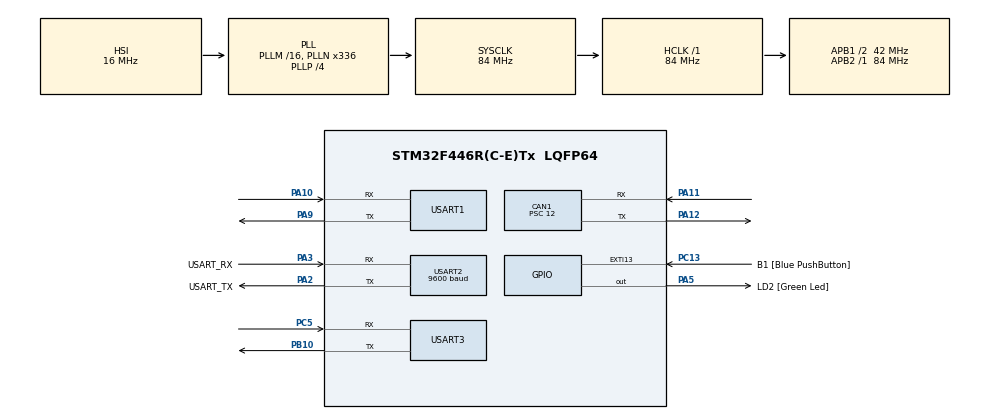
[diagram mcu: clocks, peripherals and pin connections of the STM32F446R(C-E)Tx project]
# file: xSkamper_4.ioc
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CAN1.BS1=CAN_BS1_11TQ
CAN1.BS2=CAN_BS2_2TQ
CAN1.CalculateBaudRate=250000
CAN1.CalculateTimeBit=4000
CAN1.CalculateTimeQuantum=285.7142857142857
CAN1.Prescaler=12
Dma.Request0=USART1_RX
Dma.Request1=USART3_RX
Dma.USART1_RX.0.Direction=DMA_PERIPH_TO_MEMORY
Dma.USART1_RX.0.FIFOMode=DMA_FIFOMODE_DISABLE
Dma.USART1_RX.0.Instance=DMA2_Stream2
Dma.USART1_RX.0.MemDataAlignment=DMA_MDATAALIGN_BYTE
Dma.USART1_RX.0.MemInc=DMA_MINC_ENABLE
Dma.USART1_RX.0.Mode=DMA_CIRCULAR
Dma.USART1_RX.0.PeriphDataAlignment=DMA_PDATAALIGN_BYTE
Dma.USART1_RX.0.PeriphInc=DMA_PINC_DISABLE
Dma.USART1_RX.0.Priority=DMA_PRIORITY_HIGH
Dma.USART3_RX.1.Direction=DMA_PERIPH_TO_MEMORY
Dma.USART3_RX.1.FIFOMode=DMA_FIFOMODE_DISABLE
Dma.USART3_RX.1.Instance=DMA1_Stream1
Dma.USART3_RX.1.MemDataAlignment=DMA_MDATAALIGN_BYTE
Dma.USART3_RX.1.MemInc=DMA_MINC_ENABLE
Dma.USART3_RX.1.Mode=DMA_CIRCULAR
Dma.USART3_RX.1.PeriphDataAlignment=DMA_PDATAALIGN_BYTE
Dma.USART3_RX.1.PeriphInc=DMA_PINC_DISABLE
Dma.USART3_RX.1.Priority=DMA_PRIORITY_HIGH
Mcu.Family=STM32F4
Mcu.Name=STM32F446R(C-E)Tx
Mcu.Package=LQFP64
NVIC.CAN1_RX0_IRQn=true\:0\:0\:false\:false\:true\:true\:true\:true
NVIC.CAN1_RX1_IRQn=true\:0\:0\:false\:false\:true\:true\:true\:true
NVIC.CAN1_TX_IRQn=true\:0\:0\:false\:false\:true\:true\:true\:true
NVIC.DMA1_Stream1_IRQn=true\:0\:0\:false\:false\:true\:false\:true\:true
NVIC.DMA2_Stream2_IRQn=true\:0\:0\:false\:false\:true\:false\:true\:true
NVIC.FLASH_IRQn=true\:0\:0\:false\:false\:true\:true\:true\:true
NVIC.PVD_IRQn=true\:0\:0\:false\:false\:true\:true\:true\:true
NVIC.PriorityGroup=NVIC_PRIORITYGROUP_0
NVIC.TIM1_BRK_TIM9_IRQn=true\:0\:0\:false\:false\:true\:true\:true\:true
NVIC.TIM1_CC_IRQn=true\:0\:0\:false\:false\:true\:true\:true\:true
NVIC.TIM1_TRG_COM_TIM11_IRQn=true\:0\:0\:false\:false\:true\:true\:true\:true
NVIC.TIM1_UP_TIM10_IRQn=true\:0\:0\:false\:false\:true\:true\:true\:true
NVIC.TIM2_IRQn=true\:0\:0\:false\:false\:true\:true\:true\:true
NVIC.USART1_IRQn=true\:0\:0\:false\:false\:true\:true\:true\:true
NVIC.USART2_IRQn=true\:0\:0\:false\:false\:true\:true\:true\:true
NVIC.USART3_IRQn=true\:0\:0\:false\:false\:true\:true\:true\:true
PA10.Mode=Asynchronous
PA10.Signal=USART1_RX
PA11.Mode=CAN_Activate
PA11.Signal=CAN1_RX
PA12.Mode=CAN_Activate
PA12.Signal=CAN1_TX
PA13.GPIO_Label=TMS
PA13.Mode=Serial_Wire
PA13.Signal=SYS_JTMS-SWDIO
PA14.GPIO_Label=TCK
PA14.Mode=Serial_Wire
PA14.Signal=SYS_JTCK-SWCLK
PA2.GPIO_Label=USART_TX
PA2.Mode=Asynchronous
PA2.Signal=USART2_TX
PA3.GPIO_Label=USART_RX
PA3.Mode=Asynchronous
PA3.Signal=USART2_RX
PA5.GPIO_Label=LD2 [Green Led]
PA5.Signal=GPIO_Output
PA9.Mode=Asynchronous
PA9.Signal=USART1_TX
PB10.Mode=Asynchronous
PB10.Signal=USART3_TX
PB3.GPIO_Label=SWO
PB3.Signal=SYS_JTDO-SWO
PC13.GPIO_Label=B1 [Blue PushButton]
PC13.GPIO_ModeDefaultEXTI=GPIO_MODE_IT_FALLING
PC13.Signal=GPXTI13
PC14-OSC32_IN.Mode=LSE-External-Oscillator
PC14-OSC32_IN.Signal=RCC_OSC32_IN
PC15-OSC32_OUT.Mode=LSE-External-Oscillator
PC15-OSC32_OUT.Signal=RCC_OSC32_OUT
PC5.Mode=Asynchronous
PC5.Signal=USART3_RX
PH0-OSC_IN.Mode=HSE-External-Oscillator
PH0-OSC_IN.Signal=RCC_OSC_IN
PH1-OSC_OUT.Mode=HSE-External-Oscillator
PH1-OSC_OUT.Signal=RCC_OSC_OUT
ProjectManager.HeapSize=0x200
ProjectManager.StackSize=0x400
ProjectManager.TargetToolchain=STM32CubeIDE
RCC.48MHZClocksFreq_Value=84000000
RCC.AHBFreq_Value=84000000
RCC.APB1CLKDivider=RCC_HCLK_DIV2
RCC.APB1Freq_Value=42000000
RCC.APB1TimFreq_Value=84000000
RCC.APB2Freq_Value=84000000
RCC.APB2TimFreq_Value=84000000
RCC.CortexFreq_Value=84000000
RCC.FLatency-AdvancedSettings=FLASH_LATENCY_2
RCC.HCLKFreq_Value=84000000
RCC.HSE_VALUE=8000000
RCC.HSI_VALUE=16000000
RCC.PLLN=336
RCC.PLLP=RCC_PLLP_DIV4
RCC.SYSCLKFreq_VALUE=84000000
RCC.SYSCLKSource=RCC_SYSCLKSOURCE_PLLCLK
RCC.USBFreq_Value=168000000
RCC.VCOOutputFreq_Value=336000000
TIM1.Period=199
TIM1.Prescaler=839
TIM2.Period=399
TIM2.Prescaler=839
USART1.VirtualMode=VM_ASYNC
USART2.BaudRate=9600
USART2.VirtualMode=VM_ASYNC
USART3.VirtualMode=VM_ASYNC
VP_TIM1_VS_ClockSourceINT.Mode=Internal
VP_TIM2_VS_ClockSourceINT.Mode=Internal
board=NUCLEO-F446RE

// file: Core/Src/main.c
/* USER CODE BEGIN Header */
/**
  ******************************************************************************
  * @file           : main.c
  * @brief          : Main program body
  ******************************************************************************
  * @attention
  *
  * Copyright (c) 2025 STMicroelectronics.
  * All rights reserved.
  *
  * This software is licensed under terms that can be found in the LICENSE file
  * in the root directory of this software component.
  * If no LICENSE file comes with this software, it is provided AS-IS.
  *
  ******************************************************************************
  */
/* USER CODE END Header */
#include "main.h"
#include "can.h"
#include "dma.h"
#include "tim.h"
#include "usart.h"
#include "gpio.h"

/* USER CODE BEGIN Includes */
#include "stdio.h"
#include "string.h"

#include "math.h"
#include "stdbool.h"

#include "stdlib.h"
#include "ibus.h"
/* USER CODE END Includes */

/* USER CODE BEGIN PD */
#define _USE_MATH_DEFINES
#define UART3_DMA_BUF_SIZE 128
uint8_t uart3_dma_buf[UART3_DMA_BUF_SIZE];

/* USER CODE END PD */

void SystemClock_Config(void);
/* USER CODE BEGIN PFP */
int _write(int file, char* p, int len){
	for(int i=0; i<len; i++){
		ITM_SendChar((*p++));
	}
	return len;
}
// EBIMU set function
#define DMA_BUF_SIZE 128
#define SBUF_SIZE 64

uint8_t uart1_dma_buf[DMA_BUF_SIZE];
volatile uint16_t dma_head = 0;

char sbuf[SBUF_SIZE];
int sbuf_cnt = 0;

static float roll = 0, pitch = 0, yaw = 0;

// === IDLE interrupt Handler ===
void HAL_UART_IDLE_Callback(UART_HandleTypeDef *huart)
{
    if (huart->Instance == USART1)

    {
        uint16_t dma_tail = DMA_BUF_SIZE - __HAL_DMA_GET_COUNTER(huart->hdmarx);

        while (dma_head != dma_tail) {
            char c = uart1_dma_buf[dma_head++];
            if (dma_head >= DMA_BUF_SIZE) dma_head = 0;

            if (c == '*') {
                sbuf_cnt = 0;
                memset(sbuf, 0, SBUF_SIZE);
            }

            if (sbuf_cnt < SBUF_SIZE - 1) {
                sbuf[sbuf_cnt++] = c;
            }

            if (c == '\n') {
                sbuf[sbuf_cnt] = '\0';
                float r, p, y;
                if (sscanf(sbuf, "*%f,%f,%f", &r, &p, &y) == 3) {
                    roll = r;
                    pitch = p;
                    yaw = y;
                }
                sbuf_cnt = 0;
            }
        }
    }
}

void ODrive_Send_CAN_Message(uint32_t id, uint8_t *data, uint8_t len) {
    CAN_TxHeaderTypeDef TxHeader;
    uint32_t TxMailbox;

    TxHeader.StdId = id;
    TxHeader.ExtId = 0;
    TxHeader.RTR = CAN_RTR_DATA;
    TxHeader.IDE = CAN_ID_STD;
    TxHeader.DLC = len;
    TxHeader.TransmitGlobalTime = DISABLE;

    for (int attempt = 0; attempt < 3; ++attempt) {
        if (HAL_CAN_GetTxMailboxesFreeLevel(&hcan1) > 0) {
            if (HAL_CAN_AddTxMessage(&hcan1, &TxHeader, data, &TxMailbox) == HAL_OK) {
                return; // Success
            }
        }
        HAL_Delay(1); // Retry after short delay
    }

    printf("CAN TX failed: id=0x%X\r\n", id);
}

// ODrive velocity set ----------------------------------------------
void ODrive_Set_Input_Velocity(uint8_t node_id, float velocity) {
    uint32_t cmd_id =  ((uint32_t)node_id << 5) | (0x0d);
    uint8_t data[8];
    float torque_ff = 0.0f;
    memcpy(data, &velocity, 4);      // velocity
    memcpy(data + 4, &torque_ff, 4); // torque feed-forward
    ODrive_Send_CAN_Message(cmd_id, data, 8);
}//velocity Unit = rev/s

// ODrive Axis set ----------------------------------------------
static uint32_t axis_state_1 = 0;
static uint32_t axis_state_2 = 0;
void ODrive_Set_Axis_State(uint8_t node_id, uint32_t state) {
    uint32_t cmd_id = ((uint32_t)node_id << 5) | (0x07);
    uint8_t data[4];
    memcpy(data, &state, 4);
    ODrive_Send_CAN_Message(cmd_id, data, 4);
}
// ODrive reboot ----------------------------------------------
void ODrive_reboot(uint8_t node_id){
	uint32_t cmd_id =  ((uint32_t)node_id << 5) | (0x16);
	uint8_t data[8] = {0};
	ODrive_Send_CAN_Message(cmd_id, data, 8);
}
// ODrive Axis state ----------------------------------------------
void ODrive_Get_Axis_State(uint8_t node_id) {
    uint32_t cmd_id = ((uint32_t)node_id << 5) | (0x01);
    uint8_t data[0];
    ODrive_Send_CAN_Message(cmd_id, data, 0);
}

// ODrive Torque set ----------------------------------------------
void ODrive_Set_Input_Torque(uint8_t node_id, float Torque) {
	uint32_t cmd_id =  ((uint32_t)node_id << 5) | (0x0e);
	uint8_t data[4];
    memcpy(data, &Torque, 4); // torque
    ODrive_Send_CAN_Message(cmd_id, data, 4);
}

//ODrive encoder data request ----------------------------------------------
void ODrive_Get_Encoder_Estimates(uint8_t node_id) {
	uint32_t cmd_id =  ((uint32_t)node_id << 5) | (0x09);
	uint8_t data[0];
	ODrive_Send_CAN_Message(cmd_id, data, 0);
}
static float en_pos_w = 0.0f,  en_vel_w = 0.0f; // Initial wheel motor pos, vel
static float en_pos_r = 0.0f, en_vel_r = 0.0f; // Initial reaction wheel motor pos, vel

//ODrive encoder data receive ----------------------------------------------
void HAL_CAN_RxFifo0MsgPendingCallback(CAN_HandleTypeDef *hcan) {
    CAN_RxHeaderTypeDef rxHeader;
    uint8_t rxData[8];

    if (HAL_CAN_GetRxMessage(hcan, CAN_RX_FIFO0, &rxHeader, rxData) == HAL_OK) {
        // CAN ID = 0x29,  wheel motor encoder position and velocity
        if (rxHeader.StdId == 0x29) {
            memcpy(&en_pos_w, &rxData[0], 4);
            memcpy(&en_vel_w, &rxData[4], 4);
        }

        // CAN ID = 0X49, reaction wheel motor encoder position and velocity
        else if (rxHeader.StdId == 0x49) {  // 0x009 + (2 << 5)
            memcpy(&en_pos_r, &rxData[0], 4);
            memcpy(&en_vel_r, &rxData[4], 4);
        }
        else if (rxHeader.StdId == 0x01 + (1 << 5)) { // CAN 1 axis check
            memcpy(&axis_state_1, rxData, 4);
        }
        else if (rxHeader.StdId == 0x01 + (2 << 5)) { // CAN 1 axis check
			memcpy(&axis_state_2, rxData, 4);
		}

    }
}

// Initial value set ----------------------------------------------
float targetAngle_w = - 1.0f;
float O_targetAngle_w = - 1.0f;
float iE_w;
float prevE_w;
float prevY_w;
static float tq_w;

// Wheel motor Constants ----------------------------------------------
//static float Kp_w = 0.4, Ki_w = 0.05, Kd_w = 0.015; //PID gain
//static float Kp_w = 0.137, Ki_w = 0.0015, Kd_w = 0.000082; //PID gain
//static float Kp_w = 0.2, Ki_w = 1.5, Kd_w = 0.0019; //PID gain
float Kp_w = 0.3, Ki_w = 10.0, Kd_w = 0.0016; //PID gain
//static float Kp_w = 0.25, Ki_w = 10.0, Kd_w = 0; //PID gain
//static float AF1_w = 0.00002, AF2_w = 0.00003; // Angle Fixrate
static float AF1_w = 0.00004, AF2_w = 0.001; // Angle Fixrate
float O_AF1_w = 0.00004, O_AF2_w = 0.001;
static float dt_w = 0.0002; //Time period
static float AD_w = 1.0; //Adjusting constants
float PIDoutput_w;
float tq_lim_w = 3;
float iE_lim_w = 5;
static float error_w_f;
float dY_w;
float dY_w_f;
float alpha_w = 0.999; //LPF constant
float beta_w = 0.9;

int e,ec;

// Initial value set ----------------------------------------------
float targetAngle_r = 0.0f;
float O_targetAngle_r = 0.0f;
float iE_r;
float prevE_r;
float prevY_r;
static float tq_r;

// reaction Wheel motor Constants ----------------------------------------------
float Kp_r = 0.18, Ki_r = 0.2, Kd_r = 0.0005; //PID gain
//static float AF1_r = 0.0001, AF2_r = 0.000001; // Angle Fixrate
//static float AF1_r = 0.000035, AF2_r = 0.0005; // Angle Fixrate
//static float AF1_r = 0.0001, AF2_r = 0.000012; // Angle Fixrate
static float AF1_r = 0.00025, AF2_r = 0.000015; // Angle Fixrate
float O_AF1_r = 0.00025, O_AF2_r = 0.000015;
static float dt_r = 0.0004; //Time period
static float AD_r = 1.0; //Adjusting constants
float PIDoutput_r;
float tq_lim_r = 5.0;
float iE_lim_r = 7.0;

static float error_r_f;
float dY_r;
float dY_r_f;
float alpha_r = 0.99; //LPF constant
float beta_r = 0.9;

/* ---------------------------------------------- BALANCING ---------------------------------------------- */
bool balance_enabled_w = true;// Fail check bool
bool balance_enabled_r = true;// Fail check bool

void HAL_TIM_PeriodElapsedCallback(TIM_HandleTypeDef *htim) {
	// Wheel motor Balancing ----------------------------------------------
    if (htim->Instance == TIM1) {

    	// Fail mode ----------------------------------------------
        if (fabs(pitch) > 20 || fabs(roll) > 15) {
            if (balance_enabled_w) {
            	ODrive_Set_Input_Torque(1, 0.0f);// Wheel motor stop
			 	tq_w = 0;
			 	iE_w = 0;
			 	prevE_w = 0;
                balance_enabled_w = false;
            }
            return;
        }

        if (!balance_enabled_w && fabs(pitch) < 15 && fabs(roll) < 10) {
            balance_enabled_w = true;// if pitch and roll return 15 deg, PID revive
        }

        if (!balance_enabled_w) return;

    	//PID Output ----------------------------------------------
        	float error_w = targetAngle_w - pitch;
        	error_w_f = alpha_w * error_w + (1.0 - alpha_w) * error_w_f;
        	iE_w += error_w_f * dt_w;
        	if (iE_w > iE_lim_w) {
        		iE_w = iE_lim_w;
			}
			else if (iE_w < - iE_lim_w) {
				iE_w = - iE_lim_w;
			}
        	float dE_w = (error_w_f - prevE_w) / dt_w;
        	prevE_w = error_w_f;

        	PIDoutput_w = Kp_w * error_w_f + Ki_w * iE_w + Kd_w * dE_w;
        	//Kp_w = Kp_w_old; Kd_w = Kd_w_old;

        	//I-PD Output ----------------------------------------------
        /*
        	float error_w = targetAngle_w - pitch;
        	error_w_f = alpha_w * error_w + (1.0 - alpha_w) * error_w_f;
        	iE_w += error_w_f * dt_w;  // Integral term on error
        	dY_w = (pitch - prevY_w) / dt_w;  // Derivative on output
        	dY_w_f = beta_w * dY_w + (1.0 - beta_w) * dY_w_f;
        	PIDoutput_w = Ki_w * iE_w - Kp_w * pitch - Kd_w * dY_w_f;
        	prevY_w = pitch;
        */

        	//Motor torque ----------------------------------------------
        	tq_w = AD_w * PIDoutput_w;

        	// Clamp torque
        	if (tq_w > tq_lim_w) {
        		tq_w = tq_lim_w;
        		iE_w -= error_w_f * dt_w;  // anti-windup
        	}
        	else if (tq_w < -tq_lim_w) {
        		tq_w = -tq_lim_w;
        		iE_w -= error_w_f * dt_w;  // anti-windup
        	}
        	ODrive_Set_Input_Torque(1, (float)tq_w);
        	//encoder value
        	ODrive_Get_Encoder_Estimates(1);
        	//Target Angle ----------------------------------------------
        	if (targetAngle_w > pitch) {
        		targetAngle_w += 1.0 * AF1_w;
        	}
        	if (targetAngle_w <= pitch) {
        		targetAngle_w -= 1.0 * AF1_w;
        		}
        	targetAngle_w += AF2_w * en_vel_w;

          }

    // Reaction Wheel motor Balancing ----------------------------------------------
    if (htim->Instance == TIM2) {
    	// Fail mode ----------------------------------------------
    	if (fabs(pitch) > 20 || fabs(roll) > 15) {
			if (balance_enabled_r) {
				ODrive_Set_Input_Torque(2, 0.0f);// Reaction wheel motor stop
				tq_r = 0;
				iE_r = 0;
				prevE_r = 0;
				balance_enabled_r = false;
			}
			return;
		}

		if (!balance_enabled_w && fabs(pitch) < 15 && fabs(roll) < 10) {
			balance_enabled_r = true;// if pitch and roll return 15 deg, PID revive
		}
		if (!balance_enabled_r) return;
		//PID Output ----------------------------------------------
		float error_r = targetAngle_r - roll;
		error_r_f = alpha_r * error_r + (1.0 - alpha_r) * error_r_f;
		iE_r += error_r_f * dt_r;
		if (iE_r > iE_lim_r) {
    		iE_r = iE_lim_r;
		}
		else if (iE_r < - iE_lim_r) {
			iE_r = - iE_lim_r;
		}
		float dE_r = (error_r_f - prevE_r) / dt_r;
		prevE_r = error_r_f;

		PIDoutput_r = Kp_r * error_r_f + Ki_r * iE_r + Kd_r * dE_r;

		//Motor torque ----------------------------------------------
		tq_r = - AD_r * PIDoutput_r;

		// Clamp torque
		if (tq_r > tq_lim_r) {
			tq_r = tq_lim_r;
		}
		else if (tq_r < -tq_lim_r) {
			tq_r = -tq_lim_r;
		}
		ODrive_Set_Input_Torque(2, (float)tq_r);
		//encoder value
		ODrive_Get_Encoder_Estimates(2);
		//Target Angle ----------------------------------------------
		if (targetAngle_r > roll) {
			targetAngle_r += 1.0 * AF1_r;
		}
		if (targetAngle_r <= roll) {
			targetAngle_r -= 1.0 * AF1_r;
			}
		targetAngle_r -= AF2_r * en_vel_r;
	  }

    }

// for debug ----------------------------------------------
int __io_putchar(int ch) {
    HAL_UART_Transmit(&huart2, (uint8_t *)&ch, 1, HAL_MAX_DELAY);
    return ch;
}

void HAL_UART_RxCpltCallback(UART_HandleTypeDef *huart);
/* USER CODE END PFP */

/* USER CODE BEGIN 0 */

typedef enum {
    IDLE,
    FORWARD,
    BACKWARD,
    LEFT,
    RIGHT,
	EMPTY
} ControlState;

ControlState state = EMPTY;

void update_state_from_ibus() {
    if (ibus_data[1] > 1700)
        state = FORWARD;
    else if (ibus_data[1] < 1300)
        state = BACKWARD;
    else if (ibus_data[0] > 1700)
        state = RIGHT;
    else if (ibus_data[0] < 1300)
        state = LEFT;
    else if (ibus_data[2] > 1700)
        state = IDLE;
    else
    	state = EMPTY;
}

void execute_state() {
    switch (state) {
        case FORWARD:
        	AF1_w = 0;
			AF2_w = 0;
        	while (en_vel_w <= 1.0f){
				targetAngle_w -= 0.1f;
				HAL_Delay(100);
        	}
        	while (fabs(O_targetAngle_w - targetAngle_w) >= 0.7)
			{
				if (targetAngle_w <= O_targetAngle_w) {
					targetAngle_w += 0.1f;
				}
				else if (targetAngle_w > O_targetAngle_w) {
					targetAngle_w -= 0.1f;
				}
				HAL_Delay(100);
			}
        	AF1_w = O_AF1_w;
			AF2_w = O_AF2_w;

			targetAngle_w = O_targetAngle_w;
            break;
        case BACKWARD:
        	AF1_w = 0;
			AF2_w = 0;
        	while (en_vel_w >= -0.6f){
				targetAngle_w += 0.1f;
				HAL_Delay(100);
			}
        	while (fabs(O_targetAngle_w - targetAngle_w) >= 0.7)
			{
				if (targetAngle_w <= O_targetAngle_w) {
					targetAngle_w += 0.1f;
				}
				else if (targetAngle_w > O_targetAngle_w) {
					targetAngle_w -= 0.1f;
				}
				HAL_Delay(100);
			}
        	AF1_w = O_AF1_w;
			AF2_w = O_AF2_w;
			targetAngle_w = O_targetAngle_w;
            break;
        case RIGHT:
			AF1_w = 0;
			AF2_w = 0;
			targetAngle_w = O_targetAngle_w - 1.5f;
			int i = 0;
        	while (i <= 6)//(roll <= 5.0f)
        	{
        		i+=1;
				targetAngle_r += 0.2f;
				HAL_Delay(10);
			}
        	i = 0;
        	HAL_Delay(2000);
			while (fabs(O_targetAngle_w - targetAngle_w) >= 0.7)
			{
				if (targetAngle_w <= O_targetAngle_w) {
					targetAngle_w += 0.2f;
				}
				else if (targetAngle_w > O_targetAngle_w) {
					targetAngle_w -= 0.2f;
				}
				HAL_Delay(100);
			}
			targetAngle_w = O_targetAngle_w;
			while (fabs(targetAngle_r) >= 0.7f)
			{
				if (targetAngle_r <= O_targetAngle_r) {
					targetAngle_r += 0.05f;
				}
				else if (targetAngle_r > O_targetAngle_r) {
					targetAngle_r -= 0.05f;
				}
				HAL_Delay(100);
			}
			AF1_r = O_AF1_r;
			AF2_r = O_AF2_r;
			AF1_w = O_AF1_w;
			AF2_w = O_AF2_w;
			targetAngle_r = O_targetAngle_r;
            break;
        case LEFT:
        	AF1_w = 0;
			AF2_w = 0;
			targetAngle_w = O_targetAngle_w - 1.5f;
			i = 0;
			while (i <= 6)//(roll <= 5.0f)
			{
				i+=1;
				targetAngle_r -= 0.2f;
				HAL_Delay(10);
			}
			i = 0;
			HAL_Delay(2000);
			while (fabs(O_targetAngle_w - targetAngle_w) >= 0.7)
			{
				if (targetAngle_w <= O_targetAngle_w) {
					targetAngle_w += 0.2f;
				}
				else if (targetAngle_w > O_targetAngle_w) {
					targetAngle_w -= 0.2f;
				}
				HAL_Delay(100);
			}
        	targetAngle_w = O_targetAngle_w;
        	while (fabs(targetAngle_r) >= 0.7f)
        	{
				if (targetAngle_r <= O_targetAngle_r) {
					targetAngle_r += 0.05f;
				}
				else if (targetAngle_r > O_targetAngle_r) {
					targetAngle_r -= 0.05f;
				}
				HAL_Delay(100);
        	}
        	AF1_r = O_AF1_r;
			AF2_r = O_AF2_r;
			AF1_w = O_AF1_w;
			AF2_w = O_AF2_w;
			targetAngle_r = O_targetAngle_r;
            break;
        case IDLE:
        	AF1_w = 0;
			AF2_w = 0;
        	while (fabs(en_vel_w) >= 0.6f){
        		if (en_vel_w <= 0.0f){
					targetAngle_w -= 0.2f;
        		}
        		else if (en_vel_w > 0.0f){
					targetAngle_w += 0.2f;
				}
        		HAL_Delay(100);
			}
        	AF1_r = O_AF1_r;
			AF2_r = O_AF2_r;
			AF1_w = O_AF1_w;
			AF2_w = O_AF2_w;
            break;
        case EMPTY:
        	break;
    }
}

/* USER CODE END 0 */

int main(void)
{

  /* MCU Configuration--------------------------------------------------------*/

  /* Reset of all peripherals, Initializes the Flash interface and the Systick. */
   HAL_Init();

  /* Configure the system clock */
  SystemClock_Config();

  /* Initialize all configured peripherals */
  MX_GPIO_Init();
  MX_DMA_Init();
  MX_USART2_UART_Init();
  MX_USART1_UART_Init();
  MX_CAN1_Init();
  MX_USART3_UART_Init();
  MX_TIM1_Init();
  MX_TIM2_Init();
  /* USER CODE BEGIN 2 */
  HAL_Delay(100);
  ibus_init();

  // CAN start ----------------------------------------------
  HAL_CAN_Start(&hcan1);
  HAL_CAN_ActivateNotification(&hcan1, CAN_IT_RX_FIFO0_MSG_PENDING);

  ODrive_reboot(1);
  HAL_Delay(100);
  ODrive_reboot(2);
  HAL_Delay(100);
  ODrive_Set_Axis_State(1, 3);// FULL_CALIBRATION_SEQUENCE
  HAL_Delay(3000);

  ODrive_Set_Axis_State(2, 3);
  HAL_Delay(3000);
  ODrive_Set_Axis_State(2, 1);
  HAL_Delay(100);
  ODrive_Set_Axis_State(2, 6);
  HAL_Delay(100);

  HAL_Delay(3000);

  ODrive_Get_Axis_State(2);
  HAL_Delay(100);

  if (axis_state_2 == 1) {
      ODrive_Set_Axis_State(2, 8);
      HAL_Delay(200);
      ODrive_Get_Axis_State(2);
      printf("Axis 2 entered closed loop? State: %lu\r\n", axis_state_2);
  } else {
      printf("Axis 2 did not enter IDLE, cannot go to Closed Loop.\r\n");
  }

  /*
  	  uint32_t t_start = HAL_GetTick();
  	  while (axis_state_1 != 1 && HAL_GetTick() - t_start < 30000) {
  		  ODrive_Get_Axis_State(1); // Check state
  		  HAL_Delay(500);
  	  }

  	  if (axis_state_1 != 1) {
  		  printf("Calibration failed or timed out: axis_state_1 = %lu\r\n", axis_state_1);
  		  vTaskSuspend(NULL);
  	  }
  */
  	  // Closed loop
  ODrive_Set_Axis_State(2, 8);
  HAL_Delay(150);

  ODrive_Set_Axis_State(1, 8);
  HAL_Delay(150);

  HAL_UART_Receive_DMA(&huart1, uart1_dma_buf, DMA_BUF_SIZE);
  __HAL_UART_ENABLE_IT(&huart1, UART_IT_IDLE);

  HAL_Delay(150);
  HAL_TIM_Base_Start_IT(&htim2);
  HAL_Delay(150);

  HAL_TIM_Base_Start_IT(&htim1);

  /* USER CODE END 2 */

  /* Infinite loop */
  /* USER CODE BEGIN WHILE */
  	char msg[512];
  while (1)
  {
 //sensor data read
/*
		snprintf(msg, sizeof(msg),
			//"\n\n-----------------------------------------\r\n"
			"Wheel Target Angle: %.2f   Wheel Torque: %.2f  Encoder Wheel Velocity: %.2f\r\n"
			"RW Target Angle: %.2f   RW Torque: %.2f  Encoder RW Velocity: %.2f\r\n"
			"PIDoutput_w: %.2f PIDoutput_r: %.2f\r\n"
			"Roll: %.2f\tPitch: %.2f\r\n"
			//"-----------------------------------------\r\n\n",
			,
			targetAngle_w, tq_w, en_vel_w,
			targetAngle_r, tq_r, en_vel_r,
			PIDoutput_w, PIDoutput_r, roll, pitch);

	  	  	//printf("Roll: %.2fPitch: %.2f\r\nWheel Target Angle: %.2fRW Target Angle: %.2f\r\n",roll, pitch,targetAngle_w,targetAngle_r);
	  	  snprintf(msg, sizeof(msg),
	  			"Roll: %f, Pitch: %f, TargetAngle_w: %f, TargetAngle_r: %f\n",
				roll, pitch,targetAngle_w,targetAngle_r);

			HAL_UART_Transmit_IT(&huart2, (uint8_t*)msg, strlen(msg));
	  	  	//HAL_UART_Transmit(&huart2, (uint8_t*)msg, strlen(msg), HAL_MAX_DELAY);
			HAL_Delay(100);
*/

			ibus_read(ibus_data);
			ibus_soft_failsafe(ibus_data, 10);
			if (ibus_data[0] > 900 && ibus_data[1] > 900 &&ibus_data[2] > 900){
				update_state_from_ibus();
				execute_state();
			}
			HAL_Delay(100);

    /* USER CODE END WHILE */

  }
}

void SystemClock_Config(void)
{
  RCC_OscInitTypeDef RCC_OscInitStruct = {0};
  RCC_ClkInitTypeDef RCC_ClkInitStruct = {0};

  /** Configure the main internal regulator output voltage
  */
  __HAL_RCC_PWR_CLK_ENABLE();
  __HAL_PWR_VOLTAGESCALING_CONFIG(PWR_REGULATOR_VOLTAGE_SCALE3);

  /** Initializes the RCC Oscillators according to the specified parameters
  * in the RCC_OscInitTypeDef structure.
  */
  RCC_OscInitStruct.OscillatorType = RCC_OSCILLATORTYPE_HSI;
  RCC_OscInitStruct.HSIState = RCC_HSI_ON;
  RCC_OscInitStruct.HSICalibrationValue = RCC_HSICALIBRATION_DEFAULT;
  RCC_OscInitStruct.PLL.PLLState = RCC_PLL_ON;
  RCC_OscInitStruct.PLL.PLLSource = RCC_PLLSOURCE_HSI;
  RCC_OscInitStruct.PLL.PLLM = 16;
  RCC_OscInitStruct.PLL.PLLN = 336;
  RCC_OscInitStruct.PLL.PLLP = RCC_PLLP_DIV4;
  RCC_OscInitStruct.PLL.PLLQ = 2;
  RCC_OscInitStruct.PLL.PLLR = 2;
  if (HAL_RCC_OscConfig(&RCC_OscInitStruct) != HAL_OK)
  {
    Error_Handler();
  }

  /** Initializes the CPU, AHB and APB buses clocks
  */
  RCC_ClkInitStruct.ClockType = RCC_CLOCKTYPE_HCLK|RCC_CLOCKTYPE_SYSCLK
                              |RCC_CLOCKTYPE_PCLK1|RCC_CLOCKTYPE_PCLK2;
  RCC_ClkInitStruct.SYSCLKSource = RCC_SYSCLKSOURCE_PLLCLK;
  RCC_ClkInitStruct.AHBCLKDivider = RCC_SYSCLK_DIV1;
  RCC_ClkInitStruct.APB1CLKDivider = RCC_HCLK_DIV2;
  RCC_ClkInitStruct.APB2CLKDivider = RCC_HCLK_DIV1;

  if (HAL_RCC_ClockConfig(&RCC_ClkInitStruct, FLASH_LATENCY_2) != HAL_OK)
  {
    Error_Handler();
  }
}

void Error_Handler(void)
{
  __disable_irq();
  while (1)
  {
  }
}
